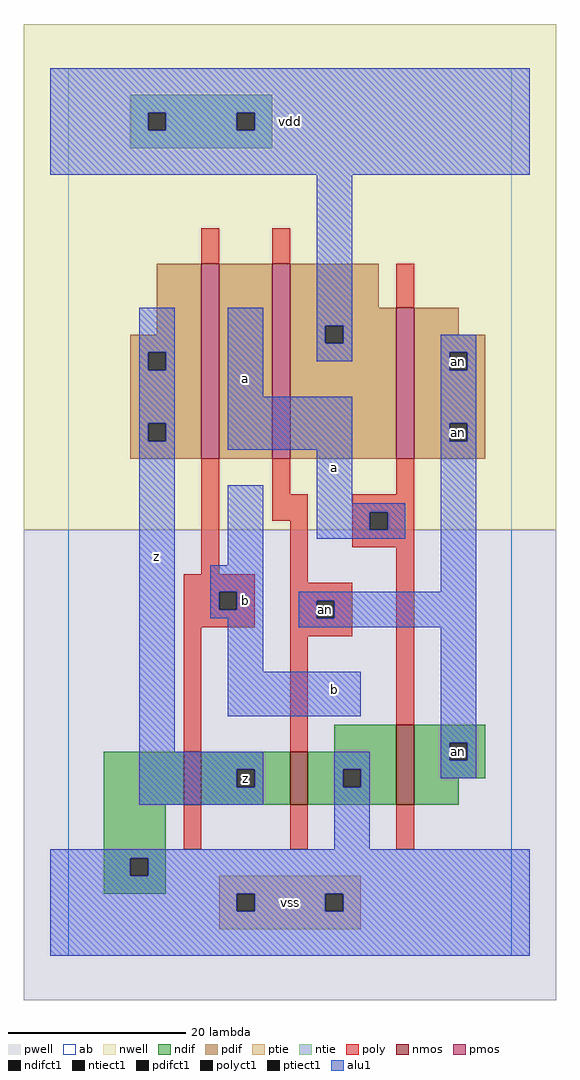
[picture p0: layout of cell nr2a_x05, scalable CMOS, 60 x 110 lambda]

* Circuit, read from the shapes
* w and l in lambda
.subckt nr2a_x05 a an b vdd vss z
M1 z b vss vss nfet w=6 l=2
M2 vss an z vss nfet w=6 l=2
M3 an a vss vss nfet w=9 l=2
M4 n1 b z vdd pfet w=22 l=2
M5 vdd an n1 vdd pfet w=22 l=2
M6 an a vdd vdd pfet w=17 l=2
.ends

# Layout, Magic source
magic
tech scmos
<< ab >>
rect 0 0 50 100
<< nwell >>
rect -5 48 55 105
<< pwell >>
rect -5 -5 55 48
<< poly >>
rect 15 78 17 82
rect 23 78 25 82
rect 37 73 39 78
rect 15 43 17 56
rect 23 52 25 56
rect 37 52 39 56
rect 23 49 27 52
rect 13 41 21 43
rect 13 39 17 41
rect 19 39 21 41
rect 13 37 21 39
rect 25 42 27 49
rect 32 50 39 52
rect 32 48 34 50
rect 36 48 39 50
rect 32 46 39 48
rect 25 40 32 42
rect 25 38 28 40
rect 30 38 32 40
rect 13 23 15 37
rect 25 36 32 38
rect 25 23 27 36
rect 37 26 39 46
rect 13 12 15 17
rect 25 12 27 17
rect 37 12 39 17
<< ndif >>
rect 30 23 37 26
rect 4 17 13 23
rect 15 21 25 23
rect 15 19 19 21
rect 21 19 25 21
rect 15 17 25 19
rect 27 21 37 23
rect 27 19 31 21
rect 33 19 37 21
rect 27 17 37 19
rect 39 24 47 26
rect 39 22 43 24
rect 45 22 47 24
rect 39 20 47 22
rect 39 17 44 20
rect 4 11 11 17
rect 4 9 7 11
rect 9 9 11 11
rect 4 7 11 9
<< pdif >>
rect 10 70 15 78
rect 7 68 15 70
rect 7 66 9 68
rect 11 66 15 68
rect 7 60 15 66
rect 7 58 9 60
rect 11 58 15 60
rect 7 56 15 58
rect 17 56 23 78
rect 25 73 35 78
rect 25 71 37 73
rect 25 69 29 71
rect 31 69 37 71
rect 25 56 37 69
rect 39 70 44 73
rect 39 68 47 70
rect 39 66 43 68
rect 45 66 47 68
rect 39 60 47 66
rect 39 58 43 60
rect 45 58 47 60
rect 39 56 47 58
<< alu1 >>
rect -2 95 52 100
rect -2 93 9 95
rect 11 93 19 95
rect 21 93 52 95
rect -2 88 52 93
rect 8 68 12 73
rect 8 66 9 68
rect 11 66 12 68
rect 8 60 12 66
rect 8 58 9 60
rect 11 58 12 60
rect 8 23 12 58
rect 18 63 22 73
rect 28 71 32 88
rect 28 69 29 71
rect 31 69 32 71
rect 28 67 32 69
rect 42 68 46 70
rect 42 66 43 68
rect 45 66 46 68
rect 18 57 32 63
rect 18 44 22 53
rect 28 51 32 57
rect 42 60 46 66
rect 42 58 43 60
rect 45 58 46 60
rect 28 50 38 51
rect 28 48 34 50
rect 36 48 38 50
rect 28 47 38 48
rect 16 41 22 44
rect 42 41 46 58
rect 16 39 17 41
rect 19 39 22 41
rect 16 38 22 39
rect 18 32 22 38
rect 26 40 46 41
rect 26 38 28 40
rect 30 38 46 40
rect 26 37 46 38
rect 18 27 33 32
rect 42 24 46 37
rect 8 21 22 23
rect 8 19 19 21
rect 21 19 22 21
rect 8 17 22 19
rect 30 21 34 23
rect 30 19 31 21
rect 33 19 34 21
rect 42 22 43 24
rect 45 22 46 24
rect 42 20 46 22
rect 30 12 34 19
rect -2 11 52 12
rect -2 9 7 11
rect 9 9 52 11
rect -2 7 52 9
rect -2 5 19 7
rect 21 5 29 7
rect 31 5 52 7
rect -2 0 52 5
<< ptie >>
rect 17 7 33 9
rect 17 5 19 7
rect 21 5 29 7
rect 31 5 33 7
rect 17 3 33 5
<< ntie >>
rect 7 95 23 97
rect 7 93 9 95
rect 11 93 19 95
rect 21 93 23 95
rect 7 91 23 93
<< nmos >>
rect 13 17 15 23
rect 25 17 27 23
rect 37 17 39 26
<< pmos >>
rect 15 56 17 78
rect 23 56 25 78
rect 37 56 39 73
<< polyct1 >>
rect 17 39 19 41
rect 34 48 36 50
rect 28 38 30 40
<< ndifct1 >>
rect 19 19 21 21
rect 31 19 33 21
rect 43 22 45 24
rect 7 9 9 11
<< ntiect1 >>
rect 9 93 11 95
rect 19 93 21 95
<< ptiect1 >>
rect 19 5 21 7
rect 29 5 31 7
<< pdifct1 >>
rect 9 66 11 68
rect 9 58 11 60
rect 29 69 31 71
rect 43 66 45 68
rect 43 58 45 60
<< labels >>
rlabel polyct1 29 39 29 39 6 an
rlabel ndifct1 44 23 44 23 6 an
rlabel pdifct1 44 59 44 59 6 an
rlabel pdifct1 44 67 44 67 6 an
rlabel ndifct1 20 20 20 20 6 z
rlabel alu1 10 45 10 45 6 z
rlabel alu1 20 40 20 40 6 b
rlabel alu1 20 65 20 65 6 a
rlabel alu1 25 6 25 6 6 vss
rlabel alu1 30 30 30 30 6 b
rlabel alu1 30 55 30 55 6 a
rlabel alu1 25 94 25 94 6 vdd
<< end >>
